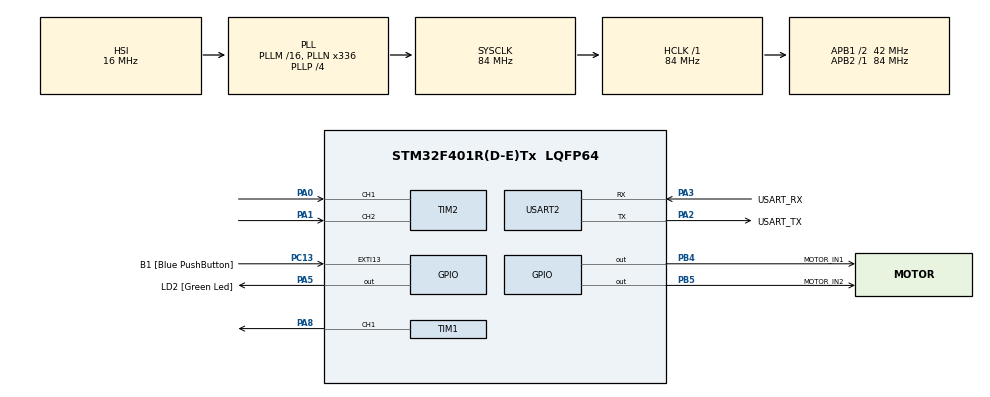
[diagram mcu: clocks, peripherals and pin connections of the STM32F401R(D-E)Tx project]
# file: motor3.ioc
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Mcu.Family=STM32F4
Mcu.Name=STM32F401R(D-E)Tx
Mcu.Package=LQFP64
NVIC.PriorityGroup=NVIC_PRIORITYGROUP_4
PA0-WKUP.Signal=S_TIM2_CH1_ETR
PA1.Signal=S_TIM2_CH2
PA13.GPIO_Label=TMS
PA13.Signal=SYS_JTMS-SWDIO
PA14.GPIO_Label=TCK
PA14.Signal=SYS_JTCK-SWCLK
PA2.GPIO_Label=USART_TX
PA2.GPIO_Mode=GPIO_MODE_AF_PP
PA2.GPIO_PuPd=GPIO_NOPULL
PA2.GPIO_Speed=GPIO_SPEED_FREQ_LOW
PA2.Mode=Asynchronous
PA2.Signal=USART2_TX
PA3.GPIO_Label=USART_RX
PA3.GPIO_Mode=GPIO_MODE_AF_PP
PA3.GPIO_PuPd=GPIO_NOPULL
PA3.GPIO_Speed=GPIO_SPEED_FREQ_LOW
PA3.Mode=Asynchronous
PA3.Signal=USART2_RX
PA5.GPIO_Label=LD2 [Green Led]
PA5.GPIO_Mode=GPIO_MODE_OUTPUT_PP
PA5.GPIO_PuPd=GPIO_NOPULL
PA5.GPIO_Speed=GPIO_SPEED_FREQ_LOW
PA5.Signal=GPIO_Output
PA8.Signal=S_TIM1_CH1
PB3.GPIO_Label=SWO
PB3.Signal=SYS_JTDO-SWO
PB4.GPIO_Label=MOTOR_IN1
PB4.Signal=GPIO_Output
PB5.GPIO_Label=MOTOR_IN2
PB5.Signal=GPIO_Output
PC13-ANTI_TAMP.GPIO_Label=B1 [Blue PushButton]
PC13-ANTI_TAMP.GPIO_ModeDefaultEXTI=GPIO_MODE_IT_FALLING
PC13-ANTI_TAMP.GPIO_PuPd=GPIO_NOPULL
PC13-ANTI_TAMP.Signal=GPXTI13
PC14-OSC32_IN.Mode=LSE-External-Oscillator
PC14-OSC32_IN.Signal=RCC_OSC32_IN
PC15-OSC32_OUT.Mode=LSE-External-Oscillator
PC15-OSC32_OUT.Signal=RCC_OSC32_OUT
PH0\ -\ OSC_IN.Mode=HSE-External-Clock-Source
PH0\ -\ OSC_IN.Signal=RCC_OSC_IN
PH1\ -\ OSC_OUT.Mode=HSE-External-Clock-Source
PH1\ -\ OSC_OUT.Signal=RCC_OSC_OUT
ProjectManager.HeapSize=0x200
ProjectManager.StackSize=0x400
ProjectManager.TargetToolchain=STM32CubeIDE
RCC.48MHZClocksFreq_Value=48000000
RCC.AHBFreq_Value=84000000
RCC.APB1CLKDivider=RCC_HCLK_DIV2
RCC.APB1Freq_Value=42000000
RCC.APB1TimFreq_Value=84000000
RCC.APB2Freq_Value=84000000
RCC.APB2TimFreq_Value=84000000
RCC.CortexFreq_Value=84000000
RCC.HCLKFreq_Value=84000000
RCC.HSE_VALUE=8000000
RCC.HSI_VALUE=16000000
RCC.PLLN=336
RCC.PLLP=RCC_PLLP_DIV4
RCC.PLLQ=7
RCC.SYSCLKFreq_VALUE=84000000
RCC.SYSCLKSource=RCC_SYSCLKSOURCE_PLLCLK
RCC.VCOOutputFreq_Value=336000000
SH.S_TIM1_CH1.0=TIM1_CH1,PWM Generation1 CH1
SH.S_TIM2_CH1_ETR.0=TIM2_CH1,Encoder_Interface
SH.S_TIM2_CH2.0=TIM2_CH2,Encoder_Interface
TIM1.Channel-PWM\ Generation1\ CH1=TIM_CHANNEL_1
TIM1.Prescaler=84
TIM2.EncoderMode=TIM_ENCODERMODE_TI12
TIM2.IC1Filter=4
USART2.VirtualMode=VM_ASYNC
board=NUCLEO-F401RE

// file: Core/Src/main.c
/* USER CODE BEGIN Header */
/**
  ******************************************************************************
  * @file           : main.c
  * @brief          : Main program body
  ******************************************************************************
  * @attention
  *
  * Copyright (c) 2026 STMicroelectronics.
  * All rights reserved.
  *
  * This software is licensed under terms that can be found in the LICENSE file
  * in the root directory of this software component.
  * If no LICENSE file comes with this software, it is provided AS-IS.
  *
  ******************************************************************************
  */
/* USER CODE END Header */
#include "main.h"

/* USER CODE BEGIN Includes */
#include <stdio.h>
#include <stdlib.h>
#include <string.h>
/* USER CODE END Includes */

/* USER CODE BEGIN PD */
#define PWM_PERIOD_DEFAULT  999         /* 1kHz PWM 주기 (0 ~ 999) */
#define ENCODER_DEADBAND    2           /* PID 목표 도달 허용 오차 (0 ~ 2 카운트 이내) */
#define MIN_MOVE_PWR        18          /* 정지 마찰력을 이기는 최소 기동 파워 (%) */
#define PID_CTRL_PERIOD_MS  2           /* PID 제어 루프 주기 (2ms = 500Hz) */
#define BKP_MAGIC_VALUE     0xA5A55A5AUL
/* USER CODE END PD */

TIM_HandleTypeDef htim1;
TIM_HandleTypeDef htim2;

UART_HandleTypeDef huart2;

/* USER CODE BEGIN PV */
volatile int32_t motor_power_percent  = 50;   /* 모터 최대 파워 (%) : 0 ~ 100 */
volatile int32_t inc_encoder_input    = 0;    /* 증가시킬 인코더 값 입력 */
volatile uint8_t inc_move_btn         = 0;    /* 증가 이동 실행 버튼 */
volatile uint8_t reset_btn            = 0;    /* 리셋 버튼 (1 입력 시 0으로 초기화) */
volatile int32_t target_encoder_input = 0;    /* 원하는 목표 인코더 값 입력 */
volatile uint8_t target_move_btn      = 0;    /* 목표 위치 이동 실행 버튼 */
volatile uint8_t stop_btn             = 0;    /* 정지 버튼 */

volatile int32_t current_encoder      = 0;    /* 현재 인코더 위치 */
volatile int32_t target_encoder       = 0;    /* 목표 인코더 위치 */
volatile uint8_t motor_moving         = 0;    /* 0: 정지, 1: 정방향(CW), 2: 역방향(CCW) */
volatile int32_t current_duty_percent = 0;    /* 현재 실제 출력 Duty (%) : 0 ~ 100 */
volatile int32_t current_speed_cps    = 0;    /* 현재 인코더 속도 (counts/sec, 0 이상) */

/* PID 위치 제어 게인 (오버슈트 방지 과감쇠 튜닝)
 *  - pid_kp: 비례 게인 (오차에 비례한 구동력)
 *  - pid_ki: 적분 게인 (목표 근처 정지 마찰력 극복 및 잔류 오차 제거)
 *  - pid_kd: 미분 게인 (접근 속도에 비례한 전자 브레이크 감속으로 목표값 초과 방지)
 */
volatile float   pid_kp               = 0.30f;
volatile float   pid_ki               = 0.04f;
volatile float   pid_kd               = 0.045f;
volatile float   p_gain_kp            = 0.30f; /* 하위 호환용 별칭 */

static uint8_t   p_control_active     = 0;    /* PID 제어 동작 활성화 플래그 */
static int8_t    move_start_dir       = 0;    /* 이동 시작 방향 (+1: 정방향, -1: 역방향) */
static uint8_t   settled_cnt          = 0;    /* 목표 범위 안착 확인 카운터 */
static uint32_t  last_ctrl_tick       = 0;
static int32_t   prev_ctrl_encoder    = 0;    /* 직전 PID 제어 주기의 인코더 값 */
static float     pid_integral         = 0.0f; /* PID 적분항 누적값 */
static float     pid_vel_filtered     = 0.0f; /* 저역통과 필터링된 인코더 속도 (counts/sec) */
static int32_t   prev_enc_for_speed   = 0;

static int32_t   prev_inc_input       = 0;
static int32_t   prev_target_input    = 0;

static uint8_t   uart_rx_byte         = 0;
static char      uart_cmd_buf[64];
static uint8_t   uart_cmd_idx         = 0;
static uint32_t  last_telemetry_tick  = 0;
/* USER CODE END PV */

void SystemClock_Config(void);
static void MX_GPIO_Init(void);
static void MX_TIM1_Init(void);
static void MX_TIM2_Init(void);
static void MX_USART2_UART_Init(void);
/* USER CODE BEGIN PFP */
void Motor_Stop(void);
void Motor_Brake(void);
void Motor_SetDrive(int8_t dir, int32_t power_percent);
void Encoder_Update(void);
void Encoder_Reset(void);
void Motor_StartRelativeMove(int32_t delta_counts);
void Motor_StartAbsoluteMove(int32_t target_counts);
void Motor_PositionControlStep(void);
void UART_ProcessCommand(const char *cmd);
void UART_PollRx(void);
void UART_SendTelemetry(void);
/* USER CODE END PFP */

/* USER CODE BEGIN 0 */
static void Encoder_SaveBackup(int32_t val)
{
  HAL_PWR_EnableBkUpAccess();
  RTC->BKP0R = (uint32_t)val;
  RTC->BKP1R = BKP_MAGIC_VALUE;
}

/**
  * @brief L298N 전자 브레이크 (IN1=HIGH, IN2=HIGH로 관성 밀림 즉시 제동)
  */
void Motor_Brake(void)
{
  uint32_t arr = __HAL_TIM_GET_AUTORELOAD(&htim1);
  HAL_GPIO_WritePin(GPIOB, MOTOR_IN1_Pin | MOTOR_IN2_Pin, GPIO_PIN_SET);
  __HAL_TIM_SET_COMPARE(&htim1, TIM_CHANNEL_1, arr);
  current_duty_percent = 0;
}

/**
  * @brief 모터 완전 정지 및 PID 제어 종료
  */
void Motor_Stop(void)
{
  HAL_GPIO_WritePin(GPIOB, MOTOR_IN1_Pin | MOTOR_IN2_Pin, GPIO_PIN_RESET);
  HAL_GPIO_WritePin(LD2_GPIO_Port, LD2_Pin, GPIO_PIN_RESET);
  __HAL_TIM_SET_COMPARE(&htim1, TIM_CHANNEL_1, 0);
  motor_moving = 0;
  current_duty_percent = 0;
  p_control_active = 0;
  move_start_dir = 0;
  settled_cnt = 0;
  pid_integral = 0.0f;
  pid_vel_filtered = 0.0f;
}

void Motor_SetDrive(int8_t dir, int32_t power_percent)
{
  if (power_percent <= 0 || dir == 0)
  {
    HAL_GPIO_WritePin(GPIOB, MOTOR_IN1_Pin | MOTOR_IN2_Pin, GPIO_PIN_RESET);
    HAL_GPIO_WritePin(LD2_GPIO_Port, LD2_Pin, GPIO_PIN_RESET);
    __HAL_TIM_SET_COMPARE(&htim1, TIM_CHANNEL_1, 0);
    motor_moving = 0;
    current_duty_percent = 0;
    return;
  }

  if (power_percent > 100)
  {
    power_percent = 100;
  }

  uint32_t arr = __HAL_TIM_GET_AUTORELOAD(&htim1);
  uint32_t ccr = (uint32_t)((power_percent * arr) / 100);

  if (dir > 0)
  {
    HAL_GPIO_WritePin(GPIOB, MOTOR_IN1_Pin, GPIO_PIN_SET);
    HAL_GPIO_WritePin(GPIOB, MOTOR_IN2_Pin, GPIO_PIN_RESET);
    motor_moving = 1;
    current_duty_percent = power_percent;
  }
  else
  {
    HAL_GPIO_WritePin(GPIOB, MOTOR_IN1_Pin, GPIO_PIN_RESET);
    HAL_GPIO_WritePin(GPIOB, MOTOR_IN2_Pin, GPIO_PIN_SET);
    motor_moving = 2;
    current_duty_percent = power_percent;
  }

  HAL_GPIO_WritePin(LD2_GPIO_Port, LD2_Pin, GPIO_PIN_SET);
  __HAL_TIM_SET_COMPARE(&htim1, TIM_CHANNEL_1, ccr);
}

void Encoder_Update(void)
{
  int32_t now_enc = (int32_t)__HAL_TIM_GET_COUNTER(&htim2);
  if (now_enc != current_encoder)
  {
    current_encoder = now_enc;
    Encoder_SaveBackup(current_encoder);

    /* PID 위치 제어 중 목표 인코더 값에 도달하면 즉시 전자 브레이크를 걸어 목표값 초과(오버슈트) 차단 */
    if (p_control_active)
    {
      if ((move_start_dir > 0 && current_encoder >= target_encoder - ENCODER_DEADBAND) ||
          (move_start_dir < 0 && current_encoder <= target_encoder + ENCODER_DEADBAND))
      {
        Motor_Brake();
      }
    }
  }
}

void Encoder_Reset(void)
{
  Motor_Stop();
  __HAL_TIM_SET_COUNTER(&htim2, 0);
  current_encoder = 0;
  target_encoder = 0;
  target_encoder_input = 0;
  prev_target_input = 0;
  inc_encoder_input = 0;
  prev_inc_input = 0;
  Encoder_SaveBackup(0);
}

void Motor_StartRelativeMove(int32_t delta_counts)
{
  if (delta_counts == 0)
  {
    return;
  }
  Motor_StartAbsoluteMove(current_encoder + delta_counts);
}

void Motor_StartAbsoluteMove(int32_t target_counts)
{
  target_encoder = target_counts;
  target_encoder_input = target_counts;
  prev_target_input = target_encoder_input;

  int32_t init_err = target_encoder - current_encoder;
  if (abs(init_err) <= ENCODER_DEADBAND)
  {
    Motor_Brake();
    Motor_Stop();
    return;
  }

  move_start_dir = (init_err > 0) ? 1 : -1;
  pid_integral = 0.0f;
  pid_vel_filtered = 0.0f;
  prev_ctrl_encoder = current_encoder;
  last_ctrl_tick = HAL_GetTick();
  settled_cnt = 0;
  p_control_active = 1;
}

/**
  * @brief PID 위치 제어기 (오버슈트 방지 과감쇠 제어)
  *        - P항: 남은 거리(오차)에 비례한 추력 생성
  *        - I항: 목표 근처에서 정지 마찰력으로 멈추는 현상(정상상태 오차) 보정 (Anti-windup 적용)
  *        - D항: 현재 이동 속도에 비례한 역제동력(-Kd * 속도)을 가해 목표 도달 전 미리 감속/브레이크
  *        - 목표 인코더 값을 절대 넘어가지 않도록 접근 속도가 안전 감속 곡선을 초과하면 즉시 전자 브레이크 작동
  */
void Motor_PositionControlStep(void)
{
  if (!p_control_active)
  {
    return;
  }

  uint32_t now = HAL_GetTick();
  uint32_t dt_ms = now - last_ctrl_tick;
  if (dt_ms < PID_CTRL_PERIOD_MS)
  {
    return;
  }
  last_ctrl_tick = now;

  if (motor_power_percent < 0)   motor_power_percent = 0;
  if (motor_power_percent > 100) motor_power_percent = 100;

  if (motor_power_percent == 0)
  {
    Motor_Stop();
    return;
  }

  float dt_sec = (float)dt_ms * 0.001f;
  int32_t d_enc = current_encoder - prev_ctrl_encoder;
  prev_ctrl_encoder = current_encoder;

  /* 현재 인코더 속도(counts/sec) 계산 및 저역통과 필터 적용 */
  float raw_vel = (float)d_enc / dt_sec;
  pid_vel_filtered = 0.55f * pid_vel_filtered + 0.45f * raw_vel;

  int32_t error = target_encoder - current_encoder;

  /* 1. 목표값에 도달했거나(허용 오차 이내), 이동 방향 기준으로 목표선에 닿으면 즉시 전자 브레이크로 정지 */
  float abs_vel = (pid_vel_filtered >= 0.0f) ? pid_vel_filtered : -pid_vel_filtered;
  if (abs(error) <= ENCODER_DEADBAND ||
      (move_start_dir > 0 && current_encoder >= target_encoder - ENCODER_DEADBAND) ||
      (move_start_dir < 0 && current_encoder <= target_encoder + ENCODER_DEADBAND))
  {
    Motor_Brake();
    pid_integral = 0.0f;
    settled_cnt++;
    if (settled_cnt >= 15 && abs_vel < 15.0f) /* 약 30ms 동안 완전 정지 확인 후 종료 */
    {
      Motor_Stop();
    }
    return;
  }
  settled_cnt = 0;

  /* 2. PID 각 항 계산 (이동 방향 기준 남은 거리와 접근 속도로 계산하여 오버슈트 원천 방지) */
  float dist_rem = (float)abs(error);
  float approach_vel = (error > 0) ? pid_vel_filtered : -pid_vel_filtered; /* 목표를 향해 다가가는 속도(+) */

  /* I항: 목표 근처(120 카운트 이내)에서 모터가 마찰로 멈춰 있을 때만 적분 누적 (Anti-windup) */
  if (dist_rem < 120.0f && approach_vel < 60.0f)
  {
    pid_integral += (pid_ki * dist_rem) * dt_sec * 60.0f;
    if (pid_integral > 25.0f) pid_integral = 25.0f;
  }
  else
  {
    pid_integral = 0.0f;
  }

  /* PID 출력 = Kp * 남은거리 + I항 - Kd * 접근속도 */
  float pid_out = (pid_kp * dist_rem) + pid_integral - (pid_kd * approach_vel);

  /* 3. 접근 속도가 남은 거리 대비 빨라서 pid_out <= 0 이거나, 목표 코앞에서 관성으로 미끄러지는 중이면 전자 브레이크 작동 */
  if (pid_out <= 0.0f || (dist_rem <= 15.0f && approach_vel > 35.0f))
  {
    Motor_Brake();
    return;
  }

  int32_t out_pwr = (int32_t)(pid_out + 0.5f);

  /* 4. 모터가 정지 마찰력 때문에 아예 못 움직이고 있을 때(속도 거의 0)만 최소 기동 파워 보장
   *    이미 움직이고 있는 중에는 낮은 파워까지 부드럽게 감속하도록 그대로 두어 오버슈트 방지 */
  if (abs_vel < 25.0f && out_pwr < MIN_MOVE_PWR)
  {
    out_pwr = MIN_MOVE_PWR;
  }

  /* 5. 목표 근처 감속 구간(80 카운트 이내)에서는 최대 파워를 단계적으로 제한하여 관성 폭주 방지 */
  int32_t max_allowed_pwr = motor_power_percent;
  if (dist_rem < 30.0f && max_allowed_pwr > 22)
  {
    max_allowed_pwr = 22;
  }
  else if (dist_rem < 80.0f && max_allowed_pwr > 32)
  {
    max_allowed_pwr = 32;
  }

  if (out_pwr > max_allowed_pwr)
  {
    out_pwr = max_allowed_pwr;
  }

  int8_t dir = (error > 0) ? 1 : -1;
  Motor_SetDrive(dir, out_pwr);
}

void UART_ProcessCommand(const char *cmd)
{
  while (*cmd == ' ' || *cmd == '\t')
  {
    cmd++;
  }
  if (*cmd == '\0')
  {
    return;
  }

  char type = *cmd;
  const char *arg = cmd + 1;
  if (*arg == ':' || *arg == '=' || *arg == ' ')
  {
    arg++;
  }

  switch (type)
  {
    case 'P':
    case 'p':
    {
      int32_t val = (int32_t)strtol(arg, NULL, 10);
      if (val < 0)   val = 0;
      if (val > 100) val = 100;
      motor_power_percent = val;
      break;
    }
    case 'I':
    case 'i':
    {
      int32_t delta = (int32_t)strtol(arg, NULL, 10);
      inc_encoder_input = delta;
      prev_inc_input = delta;
      Motor_StartRelativeMove(delta);
      break;
    }
    case 'T':
    case 't':
    {
      int32_t target = (int32_t)strtol(arg, NULL, 10);
      Motor_StartAbsoluteMove(target);
      break;
    }
    case 'D':
    case 'd':
    {
      int dir = 0, pwr = 0;
      if (sscanf(arg, "%d,%d", &dir, &pwr) == 2)
      {
        p_control_active = 0;
        motor_power_percent = pwr;
        Motor_SetDrive((int8_t)dir, (int32_t)pwr);
      }
      break;
    }
    case 'M':
    case 'm':
    {
      int dir = 0, pwr = 0;
      long tgt = 0;
      if (sscanf(arg, "%d,%d,%ld", &dir, &pwr, &tgt) == 3)
      {
        motor_power_percent = pwr;
        Motor_StartAbsoluteMove((int32_t)tgt);
      }
      break;
    }
    case 'R':
    case 'r':
    {
      Encoder_Reset();
      break;
    }
    case 'S':
    case 's':
    {
      Motor_Stop();
      break;
    }
    default:
      break;
  }
}

static void UART_PushByte(uint8_t ch)
{
  if (ch == '\r' || ch == '\n')
  {
    if (uart_cmd_idx > 0)
    {
      uart_cmd_buf[uart_cmd_idx] = '\0';
      UART_ProcessCommand(uart_cmd_buf);
      uart_cmd_idx = 0;
    }
  }
  else if (uart_cmd_idx < sizeof(uart_cmd_buf) - 1)
  {
    uart_cmd_buf[uart_cmd_idx++] = (char)ch;
  }
}

void HAL_UART_RxCpltCallback(UART_HandleTypeDef *huart)
{
  if (huart->Instance == USART2)
  {
    UART_PushByte(uart_rx_byte);
    __HAL_UNLOCK(&huart2);
    HAL_UART_Receive_IT(&huart2, &uart_rx_byte, 1);
  }
}

void HAL_UART_ErrorCallback(UART_HandleTypeDef *huart)
{
  if (huart->Instance == USART2)
  {
    __HAL_UART_CLEAR_OREFLAG(&huart2);
    __HAL_UNLOCK(&huart2);
    HAL_UART_Receive_IT(&huart2, &uart_rx_byte, 1);
  }
}

void UART_PollRx(void)
{
  if (__HAL_UART_GET_FLAG(&huart2, UART_FLAG_ORE))
  {
    __HAL_UART_CLEAR_OREFLAG(&huart2);
  }
  if (huart2.RxState == HAL_UART_STATE_READY)
  {
    __HAL_UNLOCK(&huart2);
    HAL_UART_Receive_IT(&huart2, &uart_rx_byte, 1);
  }
}

void UART_SendTelemetry(void)
{
  uint32_t now = HAL_GetTick();
  uint32_t dt = now - last_telemetry_tick;
  if (dt >= 50)
  {
    last_telemetry_tick = now;
    int32_t d_enc = abs(current_encoder - prev_enc_for_speed);
    prev_enc_for_speed = current_encoder;
    current_speed_cps = (int32_t)((d_enc * 1000L) / (int32_t)dt);

    char msg[112];
    int len = snprintf(msg, sizeof(msg), "STAT:ENC=%ld,TGT=%ld,PWR=%ld,MOV=%u,DUTY=%ld,SPD=%ld\r\n",
                       (long)current_encoder,
                       (long)target_encoder,
                       (long)motor_power_percent,
                       (unsigned int)motor_moving,
                       (long)current_duty_percent,
                       (long)current_speed_cps);
    for (int i = 0; i < len; i++)
    {
      uint32_t t0 = HAL_GetTick();
      while (!__HAL_UART_GET_FLAG(&huart2, UART_FLAG_TXE))
      {
        if (HAL_GetTick() - t0 > 5) break;
      }
      huart2.Instance->DR = (uint8_t)msg[i];
    }
  }
}
/* USER CODE END 0 */

int main(void)
{

  /* MCU Configuration--------------------------------------------------------*/

  /* Reset of all peripherals, Initializes the Flash interface and the Systick. */
  HAL_Init();

  /* Configure the system clock */
  SystemClock_Config();

  /* Initialize all configured peripherals */
  MX_GPIO_Init();
  MX_TIM1_Init();
  MX_TIM2_Init();
  MX_USART2_UART_Init();
  /* USER CODE BEGIN 2 */
  __HAL_TIM_SET_AUTORELOAD(&htim1, PWM_PERIOD_DEFAULT);
  __HAL_TIM_SET_COMPARE(&htim1, TIM_CHANNEL_1, 0);
  HAL_TIM_PWM_Start(&htim1, TIM_CHANNEL_1);
  Motor_Stop();

  /* 처음 켰을 때 0으로 리셋하지 않고 현재 모터 인코더 값을 유지/복원 */
  __HAL_RCC_PWR_CLK_ENABLE();
  HAL_PWR_EnableBkUpAccess();
  if (RTC->BKP1R == BKP_MAGIC_VALUE)
  {
    __HAL_TIM_SET_COUNTER(&htim2, RTC->BKP0R);
  }
  HAL_TIM_Encoder_Start(&htim2, TIM_CHANNEL_ALL);

  current_encoder = (int32_t)__HAL_TIM_GET_COUNTER(&htim2);
  target_encoder = current_encoder;
  target_encoder_input = current_encoder;
  prev_target_input = current_encoder;

  HAL_NVIC_SetPriority(USART2_IRQn, 1, 0);
  HAL_NVIC_EnableIRQ(USART2_IRQn);
  HAL_UART_Receive_IT(&huart2, &uart_rx_byte, 1);
  /* USER CODE END 2 */

  /* Infinite loop */
  /* USER CODE BEGIN WHILE */
  while (1)
  {
    Encoder_Update();
    UART_PollRx();

    if (reset_btn != 0)
    {
      reset_btn = 0;
      Encoder_Reset();
    }

    if (stop_btn != 0)
    {
      stop_btn = 0;
      Motor_Stop();
    }

    if (inc_move_btn != 0 || (inc_encoder_input != prev_inc_input && inc_encoder_input != 0))
    {
      inc_move_btn = 0;
      prev_inc_input = inc_encoder_input;
      Motor_StartRelativeMove(inc_encoder_input);
    }

    if (target_move_btn != 0 || (target_encoder_input != prev_target_input))
    {
      target_move_btn = 0;
      prev_target_input = target_encoder_input;
      Motor_StartAbsoluteMove(target_encoder_input);
    }

    Motor_PositionControlStep();
    UART_SendTelemetry();
    /* USER CODE END WHILE */

  }
}

void SystemClock_Config(void)
{
  RCC_OscInitTypeDef RCC_OscInitStruct = {0};
  RCC_ClkInitTypeDef RCC_ClkInitStruct = {0};

  /** Configure the main internal regulator output voltage
  */
  __HAL_RCC_PWR_CLK_ENABLE();
  __HAL_PWR_VOLTAGESCALING_CONFIG(PWR_REGULATOR_VOLTAGE_SCALE2);

  /** Initializes the RCC Oscillators according to the specified parameters
  * in the RCC_OscInitTypeDef structure.
  */
  RCC_OscInitStruct.OscillatorType = RCC_OSCILLATORTYPE_HSI;
  RCC_OscInitStruct.HSIState = RCC_HSI_ON;
  RCC_OscInitStruct.HSICalibrationValue = RCC_HSICALIBRATION_DEFAULT;
  RCC_OscInitStruct.PLL.PLLState = RCC_PLL_ON;
  RCC_OscInitStruct.PLL.PLLSource = RCC_PLLSOURCE_HSI;
  RCC_OscInitStruct.PLL.PLLM = 16;
  RCC_OscInitStruct.PLL.PLLN = 336;
  RCC_OscInitStruct.PLL.PLLP = RCC_PLLP_DIV4;
  RCC_OscInitStruct.PLL.PLLQ = 7;
  if (HAL_RCC_OscConfig(&RCC_OscInitStruct) != HAL_OK)
  {
    Error_Handler();
  }

  /** Initializes the CPU, AHB and APB buses clocks
  */
  RCC_ClkInitStruct.ClockType = RCC_CLOCKTYPE_HCLK|RCC_CLOCKTYPE_SYSCLK
                              |RCC_CLOCKTYPE_PCLK1|RCC_CLOCKTYPE_PCLK2;
  RCC_ClkInitStruct.SYSCLKSource = RCC_SYSCLKSOURCE_PLLCLK;
  RCC_ClkInitStruct.AHBCLKDivider = RCC_SYSCLK_DIV1;
  RCC_ClkInitStruct.APB1CLKDivider = RCC_HCLK_DIV2;
  RCC_ClkInitStruct.APB2CLKDivider = RCC_HCLK_DIV1;

  if (HAL_RCC_ClockConfig(&RCC_ClkInitStruct, FLASH_LATENCY_2) != HAL_OK)
  {
    Error_Handler();
  }
}

static void MX_TIM1_Init(void)
{

  TIM_MasterConfigTypeDef sMasterConfig = {0};
  TIM_OC_InitTypeDef sConfigOC = {0};
  TIM_BreakDeadTimeConfigTypeDef sBreakDeadTimeConfig = {0};

  htim1.Instance = TIM1;
  htim1.Init.Prescaler = 84;
  htim1.Init.CounterMode = TIM_COUNTERMODE_UP;
  htim1.Init.Period = 65535;
  htim1.Init.ClockDivision = TIM_CLOCKDIVISION_DIV1;
  htim1.Init.RepetitionCounter = 0;
  htim1.Init.AutoReloadPreload = TIM_AUTORELOAD_PRELOAD_DISABLE;
  if (HAL_TIM_PWM_Init(&htim1) != HAL_OK)
  {
    Error_Handler();
  }
  sMasterConfig.MasterOutputTrigger = TIM_TRGO_RESET;
  sMasterConfig.MasterSlaveMode = TIM_MASTERSLAVEMODE_DISABLE;
  if (HAL_TIMEx_MasterConfigSynchronization(&htim1, &sMasterConfig) != HAL_OK)
  {
    Error_Handler();
  }
  sConfigOC.OCMode = TIM_OCMODE_PWM1;
  sConfigOC.Pulse = 0;
  sConfigOC.OCPolarity = TIM_OCPOLARITY_HIGH;
  sConfigOC.OCNPolarity = TIM_OCNPOLARITY_HIGH;
  sConfigOC.OCFastMode = TIM_OCFAST_DISABLE;
  sConfigOC.OCIdleState = TIM_OCIDLESTATE_RESET;
  sConfigOC.OCNIdleState = TIM_OCNIDLESTATE_RESET;
  if (HAL_TIM_PWM_ConfigChannel(&htim1, &sConfigOC, TIM_CHANNEL_1) != HAL_OK)
  {
    Error_Handler();
  }
  sBreakDeadTimeConfig.OffStateRunMode = TIM_OSSR_DISABLE;
  sBreakDeadTimeConfig.OffStateIDLEMode = TIM_OSSI_DISABLE;
  sBreakDeadTimeConfig.LockLevel = TIM_LOCKLEVEL_OFF;
  sBreakDeadTimeConfig.DeadTime = 0;
  sBreakDeadTimeConfig.BreakState = TIM_BREAK_DISABLE;
  sBreakDeadTimeConfig.BreakPolarity = TIM_BREAKPOLARITY_HIGH;
  sBreakDeadTimeConfig.AutomaticOutput = TIM_AUTOMATICOUTPUT_DISABLE;
  if (HAL_TIMEx_ConfigBreakDeadTime(&htim1, &sBreakDeadTimeConfig) != HAL_OK)
  {
    Error_Handler();
  }
  HAL_TIM_MspPostInit(&htim1);

}

static void MX_TIM2_Init(void)
{

  TIM_Encoder_InitTypeDef sConfig = {0};
  TIM_MasterConfigTypeDef sMasterConfig = {0};

  htim2.Instance = TIM2;
  htim2.Init.Prescaler = 0;
  htim2.Init.CounterMode = TIM_COUNTERMODE_UP;
  htim2.Init.Period = 4294967295;
  htim2.Init.ClockDivision = TIM_CLOCKDIVISION_DIV1;
  htim2.Init.AutoReloadPreload = TIM_AUTORELOAD_PRELOAD_DISABLE;
  sConfig.EncoderMode = TIM_ENCODERMODE_TI12;
  sConfig.IC1Polarity = TIM_ICPOLARITY_RISING;
  sConfig.IC1Selection = TIM_ICSELECTION_DIRECTTI;
  sConfig.IC1Prescaler = TIM_ICPSC_DIV1;
  sConfig.IC1Filter = 4;
  sConfig.IC2Polarity = TIM_ICPOLARITY_RISING;
  sConfig.IC2Selection = TIM_ICSELECTION_DIRECTTI;
  sConfig.IC2Prescaler = TIM_ICPSC_DIV1;
  sConfig.IC2Filter = 0;
  if (HAL_TIM_Encoder_Init(&htim2, &sConfig) != HAL_OK)
  {
    Error_Handler();
  }
  sMasterConfig.MasterOutputTrigger = TIM_TRGO_RESET;
  sMasterConfig.MasterSlaveMode = TIM_MASTERSLAVEMODE_DISABLE;
  if (HAL_TIMEx_MasterConfigSynchronization(&htim2, &sMasterConfig) != HAL_OK)
  {
    Error_Handler();
  }

}

static void MX_USART2_UART_Init(void)
{

  huart2.Instance = USART2;
  huart2.Init.BaudRate = 115200;
  huart2.Init.WordLength = UART_WORDLENGTH_8B;
  huart2.Init.StopBits = UART_STOPBITS_1;
  huart2.Init.Parity = UART_PARITY_NONE;
  huart2.Init.Mode = UART_MODE_TX_RX;
  huart2.Init.HwFlowCtl = UART_HWCONTROL_NONE;
  huart2.Init.OverSampling = UART_OVERSAMPLING_16;
  if (HAL_UART_Init(&huart2) != HAL_OK)
  {
    Error_Handler();
  }

}

static void MX_GPIO_Init(void)
{
  GPIO_InitTypeDef GPIO_InitStruct = {0};

  /* GPIO Ports Clock Enable */
  __HAL_RCC_GPIOC_CLK_ENABLE();
  __HAL_RCC_GPIOH_CLK_ENABLE();
  __HAL_RCC_GPIOA_CLK_ENABLE();
  __HAL_RCC_GPIOB_CLK_ENABLE();

  /*Configure GPIO pin Output Level */
  HAL_GPIO_WritePin(LD2_GPIO_Port, LD2_Pin, GPIO_PIN_RESET);

  /*Configure GPIO pin Output Level */
  HAL_GPIO_WritePin(GPIOB, MOTOR_IN1_Pin|MOTOR_IN2_Pin, GPIO_PIN_RESET);

  /*Configure GPIO pin : B1_Pin */
  GPIO_InitStruct.Pin = B1_Pin;
  GPIO_InitStruct.Mode = GPIO_MODE_IT_FALLING;
  GPIO_InitStruct.Pull = GPIO_NOPULL;
  HAL_GPIO_Init(B1_GPIO_Port, &GPIO_InitStruct);

  /*Configure GPIO pin : LD2_Pin */
  GPIO_InitStruct.Pin = LD2_Pin;
  GPIO_InitStruct.Mode = GPIO_MODE_OUTPUT_PP;
  GPIO_InitStruct.Pull = GPIO_NOPULL;
  GPIO_InitStruct.Speed = GPIO_SPEED_FREQ_LOW;
  HAL_GPIO_Init(LD2_GPIO_Port, &GPIO_InitStruct);

  /*Configure GPIO pins : MOTOR_IN1_Pin MOTOR_IN2_Pin */
  GPIO_InitStruct.Pin = MOTOR_IN1_Pin|MOTOR_IN2_Pin;
  GPIO_InitStruct.Mode = GPIO_MODE_OUTPUT_PP;
  GPIO_InitStruct.Pull = GPIO_NOPULL;
  GPIO_InitStruct.Speed = GPIO_SPEED_FREQ_LOW;
  HAL_GPIO_Init(GPIOB, &GPIO_InitStruct);

}

void Error_Handler(void)
{
  __disable_irq();
  while (1)
  {
  }
}
